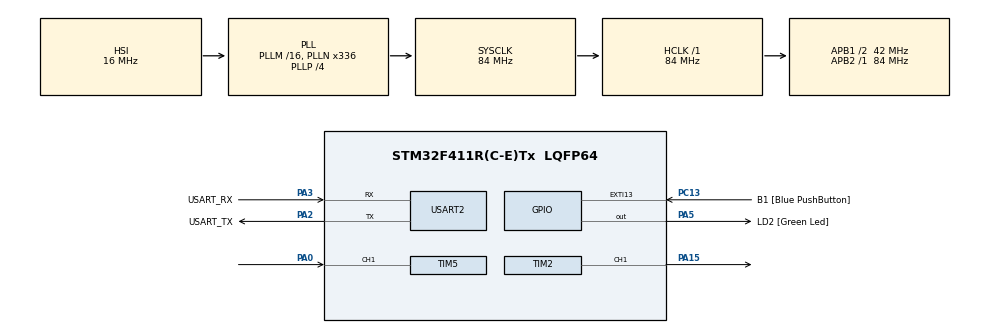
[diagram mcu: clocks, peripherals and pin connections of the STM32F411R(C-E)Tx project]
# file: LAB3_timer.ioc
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Dma.Request0=TIM5_CH1
Dma.TIM5_CH1.0.Direction=DMA_PERIPH_TO_MEMORY
Dma.TIM5_CH1.0.FIFOMode=DMA_FIFOMODE_DISABLE
Dma.TIM5_CH1.0.Instance=DMA1_Stream2
Dma.TIM5_CH1.0.MemDataAlignment=DMA_MDATAALIGN_WORD
Dma.TIM5_CH1.0.MemInc=DMA_MINC_ENABLE
Dma.TIM5_CH1.0.Mode=DMA_CIRCULAR
Dma.TIM5_CH1.0.PeriphDataAlignment=DMA_PDATAALIGN_WORD
Dma.TIM5_CH1.0.PeriphInc=DMA_PINC_DISABLE
Dma.TIM5_CH1.0.Priority=DMA_PRIORITY_LOW
Mcu.Family=STM32F4
Mcu.Name=STM32F411R(C-E)Tx
Mcu.Package=LQFP64
NVIC.DMA1_Stream2_IRQn=true\:0\:0\:false\:false\:true\:false\:true\:true
NVIC.PriorityGroup=NVIC_PRIORITYGROUP_0
PA0-WKUP.Signal=S_TIM5_CH1
PA13.GPIO_Label=TMS
PA13.Mode=Serial_Wire
PA13.Signal=SYS_JTMS-SWDIO
PA14.GPIO_Label=TCK
PA14.Mode=Serial_Wire
PA14.Signal=SYS_JTCK-SWCLK
PA15.Signal=S_TIM2_CH1_ETR
PA2.GPIO_Label=USART_TX
PA2.Mode=Asynchronous
PA2.Signal=USART2_TX
PA3.GPIO_Label=USART_RX
PA3.Mode=Asynchronous
PA3.Signal=USART2_RX
PA5.GPIO_Label=LD2 [Green Led]
PA5.Signal=GPIO_Output
PB3.GPIO_Label=SWO
PB3.Signal=SYS_JTDO-SWO
PC13-ANTI_TAMP.GPIO_Label=B1 [Blue PushButton]
PC13-ANTI_TAMP.GPIO_ModeDefaultEXTI=GPIO_MODE_IT_FALLING
PC13-ANTI_TAMP.Signal=GPXTI13
PC14-OSC32_IN.Mode=LSE-External-Oscillator
PC14-OSC32_IN.Signal=RCC_OSC32_IN
PC15-OSC32_OUT.Mode=LSE-External-Oscillator
PC15-OSC32_OUT.Signal=RCC_OSC32_OUT
PH0\ -\ OSC_IN.Mode=HSE-External-Clock-Source
PH0\ -\ OSC_IN.Signal=RCC_OSC_IN
PH1\ -\ OSC_OUT.Mode=HSE-External-Clock-Source
PH1\ -\ OSC_OUT.Signal=RCC_OSC_OUT
ProjectManager.HeapSize=0x200
ProjectManager.StackSize=0x400
ProjectManager.TargetToolchain=STM32CubeIDE
RCC.48MHZClocksFreq_Value=84000000
RCC.AHBFreq_Value=84000000
RCC.APB1CLKDivider=RCC_HCLK_DIV2
RCC.APB1Freq_Value=42000000
RCC.APB1TimFreq_Value=84000000
RCC.APB2Freq_Value=84000000
RCC.APB2TimFreq_Value=84000000
RCC.CortexFreq_Value=84000000
RCC.FLatency-AdvancedSettings=FLASH_LATENCY_2
RCC.HCLKFreq_Value=84000000
RCC.HSE_VALUE=8000000
RCC.HSI_VALUE=16000000
RCC.PLLN=336
RCC.PLLP=RCC_PLLP_DIV4
RCC.SYSCLKFreq_VALUE=84000000
RCC.SYSCLKSource=RCC_SYSCLKSOURCE_PLLCLK
RCC.VCOOutputFreq_Value=336000000
SH.S_TIM2_CH1_ETR.0=TIM2_CH1,PWM Generation1 CH1
SH.S_TIM5_CH1.0=TIM5_CH1,Input_Capture1_from_TI1
TIM2.Channel-PWM\ Generation1\ CH1=TIM_CHANNEL_1
TIM2.Period=99
TIM2.Prescaler=83
TIM2.Pulse-PWM\ Generation1\ CH1=50
TIM5.Channel-Input_Capture1_from_TI1=TIM_CHANNEL_1
TIM5.Prescaler=83
USART2.VirtualMode=VM_ASYNC
VP_TIM2_VS_ClockSourceINT.Mode=Internal
VP_TIM5_VS_ClockSourceINT.Mode=Internal
board=NUCLEO-F411RE

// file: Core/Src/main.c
/* USER CODE BEGIN Header */
/**
  ******************************************************************************
  * @file           : main.c
  * @brief          : Main program body
  ******************************************************************************
  * @attention
  *
  * Copyright (c) 2023 STMicroelectronics.
  * All rights reserved.
  *
  * This software is licensed under terms that can be found in the LICENSE file
  * in the root directory of this software component.
  * If no LICENSE file comes with this software, it is provided AS-IS.
  *
  ******************************************************************************
  */
/* USER CODE END Header */
#include "main.h"

/* USER CODE BEGIN Includes */
#define IC_BUFFER_SIZE 20
/* USER CODE END Includes */

/* USER CODE BEGIN PD */
uint32_t MotorSetDuty = 0;
uint32_t MotorSetRPM=0;
uint32_t MotorControlEnable=0;
/* USER CODE END PD */

TIM_HandleTypeDef htim2;
TIM_HandleTypeDef htim5;
DMA_HandleTypeDef hdma_tim5_ch1;

UART_HandleTypeDef huart2;

/* USER CODE BEGIN PV */
uint32_t InputCaptureBuffer[IC_BUFFER_SIZE];
float averageRisingedgePeriod;
float MotorReadRPM;
/* USER CODE END PV */

void SystemClock_Config(void);
static void MX_GPIO_Init(void);
static void MX_DMA_Init(void);
static void MX_USART2_UART_Init(void);
static void MX_TIM2_Init(void);
static void MX_TIM5_Init(void);
/* USER CODE BEGIN PFP */
float IC_Calc_Period();
/* USER CODE END PFP */

int main(void)
{

  /* MCU Configuration--------------------------------------------------------*/

  /* Reset of all peripherals, Initializes the Flash interface and the Systick. */
  HAL_Init();

  /* Configure the system clock */
  SystemClock_Config();

  /* Initialize all configured peripherals */
  MX_GPIO_Init();
  MX_DMA_Init();
  MX_USART2_UART_Init();
  MX_TIM2_Init();
  MX_TIM5_Init();
  /* USER CODE BEGIN 2 */
  HAL_TIM_Base_Start(&htim5);
  HAL_TIM_IC_Start_DMA(&htim5, TIM_CHANNEL_1, InputCaptureBuffer,20);

HAL_TIM_Base_Start(&htim2);
HAL_TIM_PWM_Start(&htim2, TIM_CHANNEL_1);
  /* USER CODE END 2 */

  /* Infinite loop */
  /* USER CODE BEGIN WHILE */
  while (1)
  {
	  averageRisingedgePeriod = IC_Calc_Period();
    /* USER CODE END WHILE */

    /* USER CODE BEGIN 3 */
	  static uint32_t timestamp =0;
	 	  if(HAL_GetTick()>= timestamp)
	 	  {
	 		 if(MotorControlEnable == 1){
	 	  	  if(MotorSetRPM > MotorReadRPM && MotorSetDuty <100){
	 	  		  MotorSetDuty = MotorSetDuty+1;
	 	  	  }
	 	  	  if(MotorSetRPM < MotorReadRPM && MotorSetDuty >0){
	 	  		  MotorSetDuty = MotorSetDuty -1 ;
	 	  	  }
	 	  	 __HAL_TIM_SET_COMPARE(&htim2,TIM_CHANNEL_1,MotorSetDuty);
	 		 }
	 		 if(MotorControlEnable == 0){
	 		 __HAL_TIM_SET_COMPARE(&htim2,TIM_CHANNEL_1,MotorSetDuty);
	 		 }
	 	 timestamp = HAL_GetTick()+50;
		  averageRisingedgePeriod = IC_Calc_Period();
		  MotorReadRPM = 60/(averageRisingedgePeriod*12*64); //2
		  __HAL_TIM_SET_COMPARE(&htim2,TIM_CHANNEL_1,MotorSetDuty); //1
	 	  }
 }

  /* USER CODE END 3 */
}

void SystemClock_Config(void)
{
  RCC_OscInitTypeDef RCC_OscInitStruct = {0};
  RCC_ClkInitTypeDef RCC_ClkInitStruct = {0};

  /** Configure the main internal regulator output voltage
  */
  __HAL_RCC_PWR_CLK_ENABLE();
  __HAL_PWR_VOLTAGESCALING_CONFIG(PWR_REGULATOR_VOLTAGE_SCALE1);

  /** Initializes the RCC Oscillators according to the specified parameters
  * in the RCC_OscInitTypeDef structure.
  */
  RCC_OscInitStruct.OscillatorType = RCC_OSCILLATORTYPE_HSI;
  RCC_OscInitStruct.HSIState = RCC_HSI_ON;
  RCC_OscInitStruct.HSICalibrationValue = RCC_HSICALIBRATION_DEFAULT;
  RCC_OscInitStruct.PLL.PLLState = RCC_PLL_ON;
  RCC_OscInitStruct.PLL.PLLSource = RCC_PLLSOURCE_HSI;
  RCC_OscInitStruct.PLL.PLLM = 16;
  RCC_OscInitStruct.PLL.PLLN = 336;
  RCC_OscInitStruct.PLL.PLLP = RCC_PLLP_DIV4;
  RCC_OscInitStruct.PLL.PLLQ = 4;
  if (HAL_RCC_OscConfig(&RCC_OscInitStruct) != HAL_OK)
  {
    Error_Handler();
  }

  /** Initializes the CPU, AHB and APB buses clocks
  */
  RCC_ClkInitStruct.ClockType = RCC_CLOCKTYPE_HCLK|RCC_CLOCKTYPE_SYSCLK
                              |RCC_CLOCKTYPE_PCLK1|RCC_CLOCKTYPE_PCLK2;
  RCC_ClkInitStruct.SYSCLKSource = RCC_SYSCLKSOURCE_PLLCLK;
  RCC_ClkInitStruct.AHBCLKDivider = RCC_SYSCLK_DIV1;
  RCC_ClkInitStruct.APB1CLKDivider = RCC_HCLK_DIV2;
  RCC_ClkInitStruct.APB2CLKDivider = RCC_HCLK_DIV1;

  if (HAL_RCC_ClockConfig(&RCC_ClkInitStruct, FLASH_LATENCY_2) != HAL_OK)
  {
    Error_Handler();
  }
}

static void MX_TIM2_Init(void)
{

  TIM_ClockConfigTypeDef sClockSourceConfig = {0};
  TIM_MasterConfigTypeDef sMasterConfig = {0};
  TIM_OC_InitTypeDef sConfigOC = {0};

  htim2.Instance = TIM2;
  htim2.Init.Prescaler = 83;
  htim2.Init.CounterMode = TIM_COUNTERMODE_UP;
  htim2.Init.Period = 99;
  htim2.Init.ClockDivision = TIM_CLOCKDIVISION_DIV1;
  htim2.Init.AutoReloadPreload = TIM_AUTORELOAD_PRELOAD_DISABLE;
  if (HAL_TIM_Base_Init(&htim2) != HAL_OK)
  {
    Error_Handler();
  }
  sClockSourceConfig.ClockSource = TIM_CLOCKSOURCE_INTERNAL;
  if (HAL_TIM_ConfigClockSource(&htim2, &sClockSourceConfig) != HAL_OK)
  {
    Error_Handler();
  }
  if (HAL_TIM_PWM_Init(&htim2) != HAL_OK)
  {
    Error_Handler();
  }
  sMasterConfig.MasterOutputTrigger = TIM_TRGO_RESET;
  sMasterConfig.MasterSlaveMode = TIM_MASTERSLAVEMODE_DISABLE;
  if (HAL_TIMEx_MasterConfigSynchronization(&htim2, &sMasterConfig) != HAL_OK)
  {
    Error_Handler();
  }
  sConfigOC.OCMode = TIM_OCMODE_PWM1;
  sConfigOC.Pulse = 50;
  sConfigOC.OCPolarity = TIM_OCPOLARITY_HIGH;
  sConfigOC.OCFastMode = TIM_OCFAST_DISABLE;
  if (HAL_TIM_PWM_ConfigChannel(&htim2, &sConfigOC, TIM_CHANNEL_1) != HAL_OK)
  {
    Error_Handler();
  }
  HAL_TIM_MspPostInit(&htim2);

}

static void MX_TIM5_Init(void)
{

  TIM_ClockConfigTypeDef sClockSourceConfig = {0};
  TIM_MasterConfigTypeDef sMasterConfig = {0};
  TIM_IC_InitTypeDef sConfigIC = {0};

  htim5.Instance = TIM5;
  htim5.Init.Prescaler = 83;
  htim5.Init.CounterMode = TIM_COUNTERMODE_UP;
  htim5.Init.Period = 4294967295;
  htim5.Init.ClockDivision = TIM_CLOCKDIVISION_DIV1;
  htim5.Init.AutoReloadPreload = TIM_AUTORELOAD_PRELOAD_DISABLE;
  if (HAL_TIM_Base_Init(&htim5) != HAL_OK)
  {
    Error_Handler();
  }
  sClockSourceConfig.ClockSource = TIM_CLOCKSOURCE_INTERNAL;
  if (HAL_TIM_ConfigClockSource(&htim5, &sClockSourceConfig) != HAL_OK)
  {
    Error_Handler();
  }
  if (HAL_TIM_IC_Init(&htim5) != HAL_OK)
  {
    Error_Handler();
  }
  sMasterConfig.MasterOutputTrigger = TIM_TRGO_RESET;
  sMasterConfig.MasterSlaveMode = TIM_MASTERSLAVEMODE_DISABLE;
  if (HAL_TIMEx_MasterConfigSynchronization(&htim5, &sMasterConfig) != HAL_OK)
  {
    Error_Handler();
  }
  sConfigIC.ICPolarity = TIM_INPUTCHANNELPOLARITY_RISING;
  sConfigIC.ICSelection = TIM_ICSELECTION_DIRECTTI;
  sConfigIC.ICPrescaler = TIM_ICPSC_DIV1;
  sConfigIC.ICFilter = 0;
  if (HAL_TIM_IC_ConfigChannel(&htim5, &sConfigIC, TIM_CHANNEL_1) != HAL_OK)
  {
    Error_Handler();
  }

}

static void MX_USART2_UART_Init(void)
{

  huart2.Instance = USART2;
  huart2.Init.BaudRate = 115200;
  huart2.Init.WordLength = UART_WORDLENGTH_8B;
  huart2.Init.StopBits = UART_STOPBITS_1;
  huart2.Init.Parity = UART_PARITY_NONE;
  huart2.Init.Mode = UART_MODE_TX_RX;
  huart2.Init.HwFlowCtl = UART_HWCONTROL_NONE;
  huart2.Init.OverSampling = UART_OVERSAMPLING_16;
  if (HAL_UART_Init(&huart2) != HAL_OK)
  {
    Error_Handler();
  }

}

static void MX_DMA_Init(void)
{

  /* DMA controller clock enable */
  __HAL_RCC_DMA1_CLK_ENABLE();

  /* DMA interrupt init */
  /* DMA1_Stream2_IRQn interrupt configuration */
  HAL_NVIC_SetPriority(DMA1_Stream2_IRQn, 0, 0);
  HAL_NVIC_EnableIRQ(DMA1_Stream2_IRQn);

}

static void MX_GPIO_Init(void)
{
  GPIO_InitTypeDef GPIO_InitStruct = {0};

  /* GPIO Ports Clock Enable */
  __HAL_RCC_GPIOC_CLK_ENABLE();
  __HAL_RCC_GPIOH_CLK_ENABLE();
  __HAL_RCC_GPIOA_CLK_ENABLE();
  __HAL_RCC_GPIOB_CLK_ENABLE();

  /*Configure GPIO pin Output Level */
  HAL_GPIO_WritePin(LD2_GPIO_Port, LD2_Pin, GPIO_PIN_RESET);

  /*Configure GPIO pin : B1_Pin */
  GPIO_InitStruct.Pin = B1_Pin;
  GPIO_InitStruct.Mode = GPIO_MODE_IT_FALLING;
  GPIO_InitStruct.Pull = GPIO_NOPULL;
  HAL_GPIO_Init(B1_GPIO_Port, &GPIO_InitStruct);

  /*Configure GPIO pin : LD2_Pin */
  GPIO_InitStruct.Pin = LD2_Pin;
  GPIO_InitStruct.Mode = GPIO_MODE_OUTPUT_PP;
  GPIO_InitStruct.Pull = GPIO_NOPULL;
  GPIO_InitStruct.Speed = GPIO_SPEED_FREQ_LOW;
  HAL_GPIO_Init(LD2_GPIO_Port, &GPIO_InitStruct);

}

/* USER CODE BEGIN 4 */
float IC_Calc_Period()
{
	uint32_t currentDMAPointer = IC_BUFFER_SIZE - __HAL_DMA_GET_COUNTER(htim5.hdma[1]);
	uint32_t lastVaildDMAPointer = (currentDMAPointer-1 + IC_BUFFER_SIZE)% IC_BUFFER_SIZE;
	uint32_t i = (lastVaildDMAPointer + IC_BUFFER_SIZE -5) % IC_BUFFER_SIZE;

	int32_t sumdiff=0;
	while (i != lastVaildDMAPointer){
		uint32_t fristCapture = InputCaptureBuffer[i];
		uint32_t NextCapture = InputCaptureBuffer[(i+1)%IC_BUFFER_SIZE];
		sumdiff += NextCapture-fristCapture;
		i = (i+1)%IC_BUFFER_SIZE;
	}
	return (sumdiff/5.0)/1000000; //microsec-sec
}
/* USER CODE END 4 */

void Error_Handler(void)
{
  __disable_irq();
  while (1)
  {
  }
}
